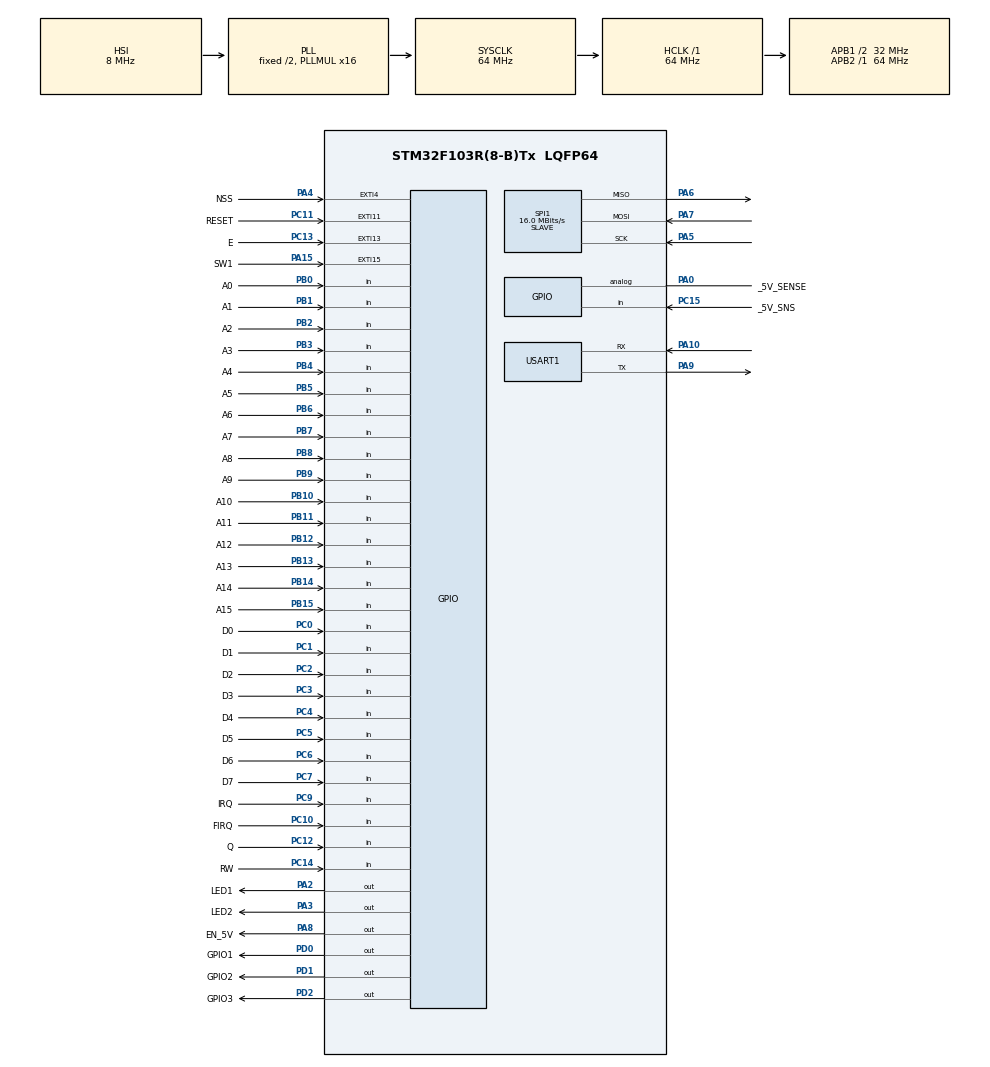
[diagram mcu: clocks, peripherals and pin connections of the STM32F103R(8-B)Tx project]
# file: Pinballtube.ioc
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Dma.Request0=SPI1_RX
Dma.Request1=SPI1_TX
Dma.SPI1_RX.0.Direction=DMA_PERIPH_TO_MEMORY
Dma.SPI1_RX.0.Instance=DMA1_Channel2
Dma.SPI1_RX.0.MemDataAlignment=DMA_MDATAALIGN_BYTE
Dma.SPI1_RX.0.MemInc=DMA_MINC_ENABLE
Dma.SPI1_RX.0.Mode=DMA_NORMAL
Dma.SPI1_RX.0.PeriphDataAlignment=DMA_PDATAALIGN_BYTE
Dma.SPI1_RX.0.PeriphInc=DMA_PINC_DISABLE
Dma.SPI1_RX.0.Priority=DMA_PRIORITY_HIGH
Dma.SPI1_TX.1.Direction=DMA_MEMORY_TO_PERIPH
Dma.SPI1_TX.1.Instance=DMA1_Channel3
Dma.SPI1_TX.1.MemDataAlignment=DMA_MDATAALIGN_BYTE
Dma.SPI1_TX.1.MemInc=DMA_MINC_ENABLE
Dma.SPI1_TX.1.Mode=DMA_NORMAL
Dma.SPI1_TX.1.PeriphDataAlignment=DMA_PDATAALIGN_BYTE
Dma.SPI1_TX.1.PeriphInc=DMA_PINC_DISABLE
Dma.SPI1_TX.1.Priority=DMA_PRIORITY_HIGH
Mcu.Family=STM32F1
Mcu.Name=STM32F103R(8-B)Tx
Mcu.Package=LQFP64
NVIC.DMA1_Channel2_IRQn=true\:0\:0\:false\:false\:false\:false\:false
NVIC.DMA1_Channel3_IRQn=true\:0\:0\:false\:false\:true\:false\:true
NVIC.PriorityGroup=NVIC_PRIORITYGROUP_4
PA0-WKUP.GPIO_Label=_5V_SENSE
PA0-WKUP.Signal=SharedAnalog_PA0
PA10.Mode=Asynchronous
PA10.Signal=USART1_RX
PA13.Mode=Serial_Wire
PA13.Signal=SYS_JTMS-SWDIO
PA14.Mode=Serial_Wire
PA14.Signal=SYS_JTCK-SWCLK
PA15.GPIO_Label=SW1
PA15.GPIO_ModeDefaultEXTI=GPIO_MODE_IT_RISING_FALLING
PA15.GPIO_PuPd=GPIO_PULLUP
PA15.Signal=GPXTI15
PA2.GPIO_Label=LED1
PA2.Signal=GPIO_Output
PA3.GPIO_Label=LED2
PA3.Signal=GPIO_Output
PA4.GPIO_Label=NSS
PA4.GPIO_ModeDefaultEXTI=GPIO_MODE_IT_RISING_FALLING
PA4.Signal=GPXTI4
PA5.Mode=Full_Duplex_Slave
PA5.Signal=SPI1_SCK
PA6.Mode=Full_Duplex_Slave
PA6.Signal=SPI1_MISO
PA7.Mode=Full_Duplex_Slave
PA7.Signal=SPI1_MOSI
PA8.GPIO_Label=EN_5V
PA8.Signal=GPIO_Output
PA9.Mode=Asynchronous
PA9.Signal=USART1_TX
PB0.GPIO_Label=A0
PB0.Signal=GPIO_Input
PB1.GPIO_Label=A1
PB1.Signal=GPIO_Input
PB10.GPIO_Label=A10
PB10.Signal=GPIO_Input
PB11.GPIO_Label=A11
PB11.Signal=GPIO_Input
PB12.GPIO_Label=A12
PB12.Signal=GPIO_Input
PB13.GPIO_Label=A13
PB13.Signal=GPIO_Input
PB14.GPIO_Label=A14
PB14.Signal=GPIO_Input
PB15.GPIO_Label=A15
PB15.Signal=GPIO_Input
PB2.GPIO_Label=A2
PB2.Signal=GPIO_Input
PB3.GPIO_Label=A3
PB3.Signal=GPIO_Input
PB4.GPIO_Label=A4
PB4.Signal=GPIO_Input
PB5.GPIO_Label=A5
PB5.Signal=GPIO_Input
PB6.GPIO_Label=A6
PB6.Signal=GPIO_Input
PB7.GPIO_Label=A7
PB7.Signal=GPIO_Input
PB8.GPIO_Label=A8
PB8.Signal=GPIO_Input
PB9.GPIO_Label=A9
PB9.Signal=GPIO_Input
PC0.GPIO_Label=D0
PC0.Signal=GPIO_Input
PC1.GPIO_Label=D1
PC1.Signal=GPIO_Input
PC10.GPIO_Label=FIRQ
PC10.Signal=GPIO_Input
PC11.GPIO_Label=RESET
PC11.Signal=GPXTI11
PC12.GPIO_Label=Q
PC12.Signal=GPIO_Input
PC13-TAMPER-RTC.GPIO_Label=E
PC13-TAMPER-RTC.GPIO_ModeDefaultEXTI=GPIO_MODE_IT_FALLING
PC13-TAMPER-RTC.Signal=GPXTI13
PC14-OSC32_IN.GPIO_Label=RW
PC14-OSC32_IN.Signal=GPIO_Input
PC15-OSC32_OUT.GPIO_Label=_5V_SNS
PC15-OSC32_OUT.Signal=GPIO_Input
PC2.GPIO_Label=D2
PC2.Signal=GPIO_Input
PC3.GPIO_Label=D3
PC3.Signal=GPIO_Input
PC4.GPIO_Label=D4
PC4.Signal=GPIO_Input
PC5.GPIO_Label=D5
PC5.Signal=GPIO_Input
PC6.GPIO_Label=D6
PC6.Signal=GPIO_Input
PC7.GPIO_Label=D7
PC7.Signal=GPIO_Input
PC9.GPIO_Label=IRQ
PC9.Signal=GPIO_Input
PD0-OSC_IN.GPIO_Label=GPIO1
PD0-OSC_IN.GPIO_Speed=GPIO_SPEED_FREQ_HIGH
PD0-OSC_IN.Signal=GPIO_Output
PD1-OSC_OUT.GPIO_Label=GPIO2
PD1-OSC_OUT.GPIO_Speed=GPIO_SPEED_FREQ_HIGH
PD1-OSC_OUT.Signal=GPIO_Output
PD2.GPIO_Label=GPIO3
PD2.GPIO_Speed=GPIO_SPEED_FREQ_HIGH
PD2.Signal=GPIO_Output
ProjectManager.HeapSize=0x200
ProjectManager.StackSize=0x400
ProjectManager.TargetToolchain=STM32CubeIDE
RCC.ADCPresc=RCC_ADCPCLK2_DIV8
RCC.AHBFreq_Value=64000000
RCC.APB1CLKDivider=RCC_HCLK_DIV2
RCC.APB1Freq_Value=32000000
RCC.APB1TimFreq_Value=64000000
RCC.APB2Freq_Value=64000000
RCC.APB2TimFreq_Value=64000000
RCC.HCLKFreq_Value=64000000
RCC.PLLMUL=RCC_PLL_MUL16
RCC.SYSCLKFreq_VALUE=64000000
RCC.SYSCLKSource=RCC_SYSCLKSOURCE_PLLCLK
RCC.USBFreq_Value=64000000
SH.SharedAnalog_PA0.0=GPIO_Analog
SH.SharedAnalog_PA0.1=ADC1_IN0
SPI1.BaudRatePrescaler=SPI_BAUDRATEPRESCALER_4
SPI1.CalculateBaudRate=16.0 MBits/s
SPI1.Direction=SPI_DIRECTION_2LINES
SPI1.Mode=SPI_MODE_SLAVE
SPI1.VirtualType=VM_SLAVE
USART1.VirtualMode=VM_ASYNC
board=custom

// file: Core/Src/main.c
/* USER CODE BEGIN Header */
/**
  ******************************************************************************
  * @file           : main.c
  * @brief          : Main program body
  ******************************************************************************
  * @attention
  *
  * <h2><center>&copy; Copyright (c) 2020 STMicroelectronics.
  * All rights reserved.</center></h2>
  *
  * This software component is licensed by ST under BSD 3-Clause license,
  * the "License"; You may not use this file except in compliance with the
  * License. You may obtain a copy of the License at:
  *                        opensource.org/licenses/BSD-3-Clause
  *
  ******************************************************************************
  */
/* USER CODE END Header */
#include "main.h"

/* USER CODE BEGIN Includes */
#include "stdbool.h"
#include "stdio.h"
#include "string.h"
/* USER CODE END Includes */

/* USER CODE BEGIN PTD */
struct flags {
  bool SPI_cmplt : 1;
};
/* USER CODE END PTD */

/* USER CODE BEGIN PD */

#define RAM_SIZE 0x4000
//#define TEST_MODE

/* USER CODE END PD */

SPI_HandleTypeDef hspi1;
DMA_HandleTypeDef hdma_spi1_rx;
DMA_HandleTypeDef hdma_spi1_tx;

UART_HandleTypeDef huart1;

/* USER CODE BEGIN PV */

uint8_t pinball_RAM[RAM_SIZE];
//uint8_t dummy_RAM[RAM_SIZE];
uint8_t RX_buffer[10];
uint8_t TX_buffer[25];
struct flags myflags;

/* USER CODE END PV */

void SystemClock_Config(void);
static void MX_GPIO_Init(void);
static void MX_DMA_Init(void);
static void MX_SPI1_Init(void);
static void MX_USART1_UART_Init(void);

int main(void)
{
  /* USER CODE BEGIN 1 */
	uint16_t  address;
	uint8_t command;
	uint32_t startaddress;

	uint8_t data_bus;
	uint16_t address_bus;
  /* USER CODE END 1 */

  /* MCU Configuration--------------------------------------------------------*/

  /* Reset of all peripherals, Initializes the Flash interface and the Systick. */
  HAL_Init();

  /* Configure the system clock */
  SystemClock_Config();

  /* Initialize all configured peripherals */
  MX_GPIO_Init();
  MX_DMA_Init();
  MX_SPI1_Init();
  MX_USART1_UART_Init();
  /* USER CODE BEGIN 2 */

  //Fill RAM with dummy Data

  //One morning, when Gregor Samsa woke from troubled dreams, he found himself transformed in his bed into a horrible vermin. He lay on his armour-like back, and if he lifted his head a little he could see his brown belly, slightly domed and divided by arches
  for(int i=0;i<RAM_SIZE;i++){
  	//dummy_RAM[i]=i&0xFF;
  }

 // HAL_SPI_Transmit_DMA(&hspi1, Pinball_RAM, RAM_SIZE);
  //HAL_GPIO_WritePin(NSS_GPIO_Port, NSS_Pin, 1);
  HAL_GPIO_WritePin(LED1_GPIO_Port, LED1_Pin,1);
  HAL_GPIO_WritePin(LED2_GPIO_Port, LED2_Pin,0);
  HAL_GPIO_WritePin(GPIO1_GPIO_Port, GPIO1_Pin,0);
  HAL_GPIO_WritePin(EN_5V_GPIO_Port, EN_5V_Pin, 1);

  /* USER CODE END 2 */

  /* Infinite loop */
  while (1)
  {

    /* USER CODE BEGIN 3 */

	  //HAL_GPIO_WritePin(GPIO1_GPIO_Port, GPIO1_Pin,0);
/*	  if(myflags.SPI_cmplt){
		  myflags.SPI_cmplt=0;

		  address=(RX_buffer[1]<<8)|RX_buffer[2];
		  command=RX_buffer[0];
		  switch(command){
		  case 1:   HAL_GPIO_TogglePin(LED1_GPIO_Port, LED1_Pin);
		  	  	    HAL_SPI_Receive_IT(&hspi1, RX_buffer, 10);
			        break;
		  case 2:
			  	  	break;
		  case 3:
			  	  	//sprintf(TX_buffer,"address: 0x%04x=",address);
			  	  	//HAL_UART_Transmit(&huart1, TX_buffer, strlen(TX_buffer), 100);
			  	  	startaddress=&pinball_RAM;
			  	  	startaddress+=address;
			  	  	//HAL_SPI_Abort(&hspi1);
			  	  	HAL_SPI_Transmit(&hspi1, (uint8_t*)"123", 3, 100);
			  	  	//HAL_SPI_Transmit_DMA(&hspi1, pinball_RAM(uint8_t*)startaddress, 3);

			  	  	//HAL_UART_Transmit(&huart1, (uint8_t*)startaddress, 1, 100);
			  	  	//HAL_UART_Transmit(&huart1, (uint8_t*)"\n\r", 2, 100);
			  	  	//HAL_SPI_Abort(&hspi1);
			  	  	//HAL_SPI_Transmit(&hspi1, (uint8_t*)"123", 3, 100);
			  	  	//HAL_SPI_Receive_IT(&hspi1, RX_buffer, 3);
		  	  	  	break;
		  }
	  }*/

	  //HAL_GPIO_TogglePin(GPIO1_GPIO_Port, GPIO1_Pin);
#ifdef TEST_MODE
	  HAL_GPIO_TogglePin(LED1_GPIO_Port, LED1_Pin);
	  HAL_GPIO_TogglePin(LED2_GPIO_Port, LED2_Pin);

	  if(HAL_GPIO_ReadPin(SW1_GPIO_Port, SW1_Pin)){
		  HAL_GPIO_WritePin(EN_5V_GPIO_Port, EN_5V_Pin, 1);
		  HAL_Delay(100);
	  }
	  else{
		  HAL_Delay(20);
		  HAL_GPIO_WritePin(EN_5V_GPIO_Port, EN_5V_Pin, 0);
		  HAL_UART_Transmit(&huart1, RX_buffer, 10, 1000);
	  }
	  HAL_UART_Receive(&huart1, RX_buffer, 10, 10);
#else
//	  HAL_Delay(5);
//	  HAL_GPIO_WritePin(LED1_GPIO_Port, LED1_Pin, 1);
//	  HAL_GPIO_WritePin(LED2_GPIO_Port, LED2_Pin, 1);
#endif

	  						//HAL_UART_Transmit(&huart1, "Q   Interrupt\n\r", 17, 100);
	  if(!HAL_GPIO_ReadPin(Q_GPIO_Port, Q_Pin)){
		  HAL_GPIO_WritePin(GPIO1_GPIO_Port, GPIO1_Pin,0);
		  address_bus=A0_GPIO_Port->IDR&0xffff;
		  if(address_bus<RAM_SIZE){
			  data_bus=D0_GPIO_Port->IDR&0xff;
			  pinball_RAM[address_bus]=data_bus;
		  }
		  //HAL_GPIO_WritePin(LED1_GPIO_Port, LED1_Pin, 0);
		  HAL_GPIO_WritePin(GPIO1_GPIO_Port, GPIO1_Pin,1);
	  }

  }
  /* USER CODE END 3 */
}

void SystemClock_Config(void)
{
  RCC_OscInitTypeDef RCC_OscInitStruct = {0};
  RCC_ClkInitTypeDef RCC_ClkInitStruct = {0};

  /** Initializes the RCC Oscillators according to the specified parameters
  * in the RCC_OscInitTypeDef structure.
  */
  RCC_OscInitStruct.OscillatorType = RCC_OSCILLATORTYPE_HSI;
  RCC_OscInitStruct.HSIState = RCC_HSI_ON;
  RCC_OscInitStruct.HSICalibrationValue = RCC_HSICALIBRATION_DEFAULT;
  RCC_OscInitStruct.PLL.PLLState = RCC_PLL_ON;
  RCC_OscInitStruct.PLL.PLLSource = RCC_PLLSOURCE_HSI_DIV2;
  RCC_OscInitStruct.PLL.PLLMUL = RCC_PLL_MUL16;
  if (HAL_RCC_OscConfig(&RCC_OscInitStruct) != HAL_OK)
  {
    Error_Handler();
  }
  /** Initializes the CPU, AHB and APB buses clocks
  */
  RCC_ClkInitStruct.ClockType = RCC_CLOCKTYPE_HCLK|RCC_CLOCKTYPE_SYSCLK
                              |RCC_CLOCKTYPE_PCLK1|RCC_CLOCKTYPE_PCLK2;
  RCC_ClkInitStruct.SYSCLKSource = RCC_SYSCLKSOURCE_PLLCLK;
  RCC_ClkInitStruct.AHBCLKDivider = RCC_SYSCLK_DIV1;
  RCC_ClkInitStruct.APB1CLKDivider = RCC_HCLK_DIV2;
  RCC_ClkInitStruct.APB2CLKDivider = RCC_HCLK_DIV1;

  if (HAL_RCC_ClockConfig(&RCC_ClkInitStruct, FLASH_LATENCY_2) != HAL_OK)
  {
    Error_Handler();
  }
}

static void MX_SPI1_Init(void)
{

  /* SPI1 parameter configuration*/
  hspi1.Instance = SPI1;
  hspi1.Init.Mode = SPI_MODE_SLAVE;
  hspi1.Init.Direction = SPI_DIRECTION_2LINES;
  hspi1.Init.DataSize = SPI_DATASIZE_8BIT;
  hspi1.Init.CLKPolarity = SPI_POLARITY_LOW;
  hspi1.Init.CLKPhase = SPI_PHASE_1EDGE;
  hspi1.Init.NSS = SPI_NSS_SOFT;
  hspi1.Init.BaudRatePrescaler = SPI_BAUDRATEPRESCALER_4;
  hspi1.Init.FirstBit = SPI_FIRSTBIT_MSB;
  hspi1.Init.TIMode = SPI_TIMODE_DISABLE;
  hspi1.Init.CRCCalculation = SPI_CRCCALCULATION_DISABLE;
  hspi1.Init.CRCPolynomial = 10;
  if (HAL_SPI_Init(&hspi1) != HAL_OK)
  {
    Error_Handler();
  }

}

static void MX_USART1_UART_Init(void)
{

  huart1.Instance = USART1;
  huart1.Init.BaudRate = 115200;
  huart1.Init.WordLength = UART_WORDLENGTH_8B;
  huart1.Init.StopBits = UART_STOPBITS_1;
  huart1.Init.Parity = UART_PARITY_NONE;
  huart1.Init.Mode = UART_MODE_TX_RX;
  huart1.Init.HwFlowCtl = UART_HWCONTROL_NONE;
  huart1.Init.OverSampling = UART_OVERSAMPLING_16;
  if (HAL_UART_Init(&huart1) != HAL_OK)
  {
    Error_Handler();
  }

}

static void MX_DMA_Init(void)
{

  /* DMA controller clock enable */
  __HAL_RCC_DMA1_CLK_ENABLE();

  /* DMA interrupt init */
  /* DMA1_Channel2_IRQn interrupt configuration */
  HAL_NVIC_SetPriority(DMA1_Channel2_IRQn, 0, 0);
  HAL_NVIC_EnableIRQ(DMA1_Channel2_IRQn);
  /* DMA1_Channel3_IRQn interrupt configuration */
  HAL_NVIC_SetPriority(DMA1_Channel3_IRQn, 0, 0);
  HAL_NVIC_EnableIRQ(DMA1_Channel3_IRQn);

}

static void MX_GPIO_Init(void)
{
  GPIO_InitTypeDef GPIO_InitStruct = {0};

  /* GPIO Ports Clock Enable */
  __HAL_RCC_GPIOC_CLK_ENABLE();
  __HAL_RCC_GPIOD_CLK_ENABLE();
  __HAL_RCC_GPIOA_CLK_ENABLE();
  __HAL_RCC_GPIOB_CLK_ENABLE();

  /*Configure GPIO pin Output Level */
  HAL_GPIO_WritePin(GPIOD, GPIO1_Pin|GPIO2_Pin|GPIO3_Pin, GPIO_PIN_RESET);

  /*Configure GPIO pin Output Level */
  HAL_GPIO_WritePin(GPIOA, LED1_Pin|LED2_Pin|EN_5V_Pin, GPIO_PIN_RESET);

  /*Configure GPIO pin : E_Pin */
  GPIO_InitStruct.Pin = E_Pin;
  GPIO_InitStruct.Mode = GPIO_MODE_IT_FALLING;
  GPIO_InitStruct.Pull = GPIO_NOPULL;
  HAL_GPIO_Init(E_GPIO_Port, &GPIO_InitStruct);

  /*Configure GPIO pins : RW_Pin _5V_SNS_Pin D0_Pin D1_Pin
                           D2_Pin D3_Pin D4_Pin D5_Pin
                           D6_Pin D7_Pin IRQ_Pin FIRQ_Pin
                           Q_Pin */
  GPIO_InitStruct.Pin = RW_Pin|_5V_SNS_Pin|D0_Pin|D1_Pin
                          |D2_Pin|D3_Pin|D4_Pin|D5_Pin
                          |D6_Pin|D7_Pin|IRQ_Pin|FIRQ_Pin
                          |Q_Pin;
  GPIO_InitStruct.Mode = GPIO_MODE_INPUT;
  GPIO_InitStruct.Pull = GPIO_NOPULL;
  HAL_GPIO_Init(GPIOC, &GPIO_InitStruct);

  /*Configure GPIO pins : GPIO1_Pin GPIO2_Pin GPIO3_Pin */
  GPIO_InitStruct.Pin = GPIO1_Pin|GPIO2_Pin|GPIO3_Pin;
  GPIO_InitStruct.Mode = GPIO_MODE_OUTPUT_PP;
  GPIO_InitStruct.Pull = GPIO_NOPULL;
  GPIO_InitStruct.Speed = GPIO_SPEED_FREQ_HIGH;
  HAL_GPIO_Init(GPIOD, &GPIO_InitStruct);

  /*Configure GPIO pin : _5V_SENSE_Pin */
  GPIO_InitStruct.Pin = _5V_SENSE_Pin;
  GPIO_InitStruct.Mode = GPIO_MODE_ANALOG;
  HAL_GPIO_Init(_5V_SENSE_GPIO_Port, &GPIO_InitStruct);

  /*Configure GPIO pins : LED1_Pin LED2_Pin EN_5V_Pin */
  GPIO_InitStruct.Pin = LED1_Pin|LED2_Pin|EN_5V_Pin;
  GPIO_InitStruct.Mode = GPIO_MODE_OUTPUT_PP;
  GPIO_InitStruct.Pull = GPIO_NOPULL;
  GPIO_InitStruct.Speed = GPIO_SPEED_FREQ_LOW;
  HAL_GPIO_Init(GPIOA, &GPIO_InitStruct);

  /*Configure GPIO pin : NSS_Pin */
  GPIO_InitStruct.Pin = NSS_Pin;
  GPIO_InitStruct.Mode = GPIO_MODE_IT_RISING_FALLING;
  GPIO_InitStruct.Pull = GPIO_NOPULL;
  HAL_GPIO_Init(NSS_GPIO_Port, &GPIO_InitStruct);

  /*Configure GPIO pins : A0_Pin A1_Pin A2_Pin A10_Pin
                           A11_Pin A12_Pin A13_Pin A14_Pin
                           A15_Pin A3_Pin A4_Pin A5_Pin
                           A6_Pin A7_Pin A8_Pin A9_Pin */
  GPIO_InitStruct.Pin = A0_Pin|A1_Pin|A2_Pin|A10_Pin
                          |A11_Pin|A12_Pin|A13_Pin|A14_Pin
                          |A15_Pin|A3_Pin|A4_Pin|A5_Pin
                          |A6_Pin|A7_Pin|A8_Pin|A9_Pin;
  GPIO_InitStruct.Mode = GPIO_MODE_INPUT;
  GPIO_InitStruct.Pull = GPIO_NOPULL;
  HAL_GPIO_Init(GPIOB, &GPIO_InitStruct);

  /*Configure GPIO pin : SW1_Pin */
  GPIO_InitStruct.Pin = SW1_Pin;
  GPIO_InitStruct.Mode = GPIO_MODE_IT_RISING_FALLING;
  GPIO_InitStruct.Pull = GPIO_PULLUP;
  HAL_GPIO_Init(SW1_GPIO_Port, &GPIO_InitStruct);

  /*Configure GPIO pin : RESET_Pin */
  GPIO_InitStruct.Pin = RESET_Pin;
  GPIO_InitStruct.Mode = GPIO_MODE_IT_RISING;
  GPIO_InitStruct.Pull = GPIO_NOPULL;
  HAL_GPIO_Init(RESET_GPIO_Port, &GPIO_InitStruct);

  /*Configure peripheral I/O remapping */
  __HAL_AFIO_REMAP_PD01_ENABLE();

}

/* USER CODE BEGIN 4 */

void HAL_GPIO_EXTI_Callback(uint16_t GPIO_Pin){
	static uint8_t data_bus;
	static uint16_t address_bus;
	HAL_GPIO_WritePin(GPIO1_GPIO_Port, GPIO1_Pin,1);
/*	switch(GPIO_Pin){
		case SW1_Pin:	//HAL_UART_Transmit(&huart1, "SW1 Interrupt\n\r", 17, 100);
						break;
		case Q_Pin:		// leading edge of Q: address valid
						//HAL_UART_Transmit(&huart1, "Q   Interrupt\n\r", 17, 100);
						address_bus=A0_GPIO_Port->IDR&0xffff;
						if(address_bus>=RAM_SIZE)address_bus=RAM_SIZE-1;

						break;
		case E_Pin:		// falling edge of E: data latch
						//HAL_UART_Transmit(&huart1, "E   Interrupt\n\r", 17, 100);
						data_bus=D0_GPIO_Port->IDR&0xff;
						if(address_bus==0x18c1){
							address_bus++;
						}
						pinball_RAM[address_bus]=data_bus;
						//HAL_GPIO_WritePin(LED1_GPIO_Port, LED1_Pin, 0);
						break;
		case NSS_Pin:	if (HAL_GPIO_ReadPin(NSS_GPIO_Port, NSS_Pin)){	//Rising edgde
							HAL_SPI_DMAStop(&hspi1);
							__HAL_RCC_SPI1_FORCE_RESET();				//Reset SPI to flush buffers
							__HAL_RCC_SPI1_RELEASE_RESET();
							HAL_GPIO_WritePin(GPIO1_GPIO_Port, GPIO1_Pin,1);
						}
						else{//Falling edgde
							//HAL_UART_Transmit(&huart1, "NSS Falling\n\r", 17, 100);
							//HAL_SPI_Transmit_DMA(&hspi1, pinball_RAM, RAM_SIZE);
							HAL_SPI_Transmit_DMA(&hspi1, dummy_RAM, RAM_SIZE);
							HAL_GPIO_WritePin(GPIO1_GPIO_Port, GPIO1_Pin,1);
							//HAL_GPIO_WritePin(LED2_GPIO_Port, LED2_Pin, 0);
						}
						break;
		default:;
	}*/
	HAL_GPIO_WritePin(GPIO1_GPIO_Port, GPIO1_Pin,0);

}

void HAL_SPI_RxCpltCallback(SPI_HandleTypeDef *hspi){
	//myflags.SPI_cmplt=1;
}

void HAL_SPI_ErrorCallback(SPI_HandleTypeDef *hspi){
	while(1);
}

/* USER CODE END 4 */

void Error_Handler(void)
{
}

/************************ (C) COPYRIGHT STMicroelectronics *****END OF FILE****/
